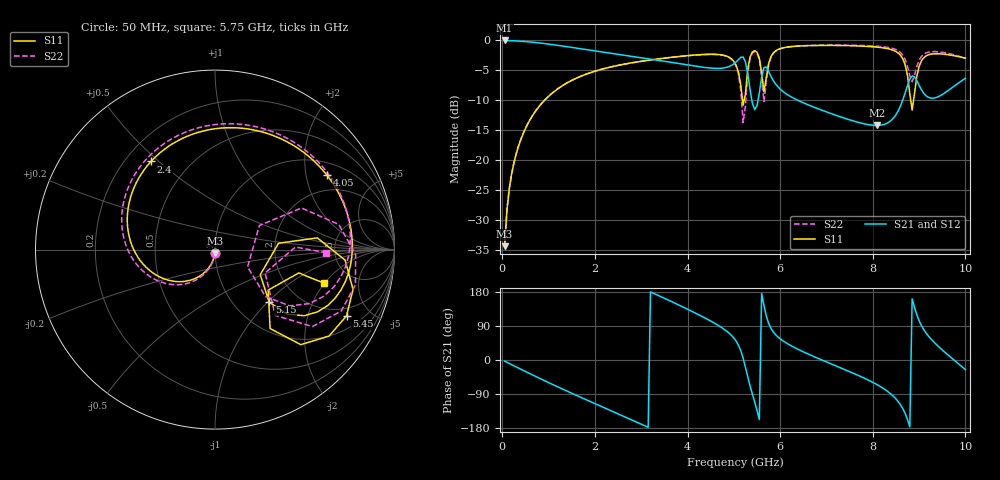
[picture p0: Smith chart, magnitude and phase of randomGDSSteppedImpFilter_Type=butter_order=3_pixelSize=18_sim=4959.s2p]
! freq	dB(S11)	phase(S11)	dB(S12)	phase(S12)
!  dB(S21)	phase(S21)	dB(S22)	phase(S22)
!S-par simulation data
#  GHz  S  DB  R 50
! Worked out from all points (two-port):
!   200 points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, 50 MHz to 10 GHz, reference 50 ohm
!   highest |S21| = -0.01 dB at 50 MHz (marker M1); lowest = -14.2 dB at 8.1 GHz (marker M2)
!   |S21| within 3 dB of the highest: start of sweep to 3.091 GHz; 5.125 GHz to 5.215 GHz (89.43 MHz wide, 1.73 % of centre)
!   lowest |S11| = -34.4 dB at 50 MHz (marker M3), VSWR 1.04, Z = 49.9 - j1.9 ohm
!   |S11| at or under -10 dB: start of sweep to 913.1 MHz; 5.188 GHz to 5.222 GHz (34.15 MHz wide, 0.656 % of centre); 8.82 GHz to 8.881 GHz (61.11 MHz wide, 0.69 % of centre)
!   |S22| runs from -34.4 to -0.8 dB; largest |S21 - S12| = 0
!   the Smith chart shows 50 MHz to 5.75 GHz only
!   S11 on the Smith chart (normalised r, x): 50 MHz: 1.00, -0.04; 2.4 GHz: 0.30, +0.47; 4.05 GHz: 1.41, +2.65; 5.15 GHz: 1.44, -1.02; 5.45 GHz: 1.57, -3.55; 5.75 GHz: 3.15, -1.99
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0.05  -34.39 -93.1  -0.01 -3.1  -0.01 -3.1  -34.37 -93.0
0.2  -22.40 -103.4  -0.05 -12.2  -0.05 -12.2  -22.36 -102.1
0.5  -14.72 -122.4  -0.19 -30.3  -0.19 -30.3  -14.72 -119.4
1.75  -5.82 162.7  -1.47 -101.5  -1.47 -101.5  -5.81 172.8
2.4  -4.34 126.0  -2.22 -136.7  -2.22 -136.7  -4.34 139.1
3.4  -3.06 70.3  -3.37 168.6  -3.37 168.6  -3.06 85.7
4.05  -2.51 33.5  -4.16 131.1  -4.16 131.1  -2.52 48.1
5.05  -4.17 -36.5  -3.59 49.7  -3.59 49.7  -4.35 -29.8
5.15  -7.52 -44.1  -2.82 24.6  -2.82 24.6  -8.33 -42.8
5.2  -10.80 -29.0  -2.77 5.0  -2.77 5.0  -13.75 -28.0
5.3  -4.82 6.5  -5.58 -45.5  -5.58 -45.5  -5.43 25.7
5.45  -1.72 -26.7  -11.57 -110.7  -11.57 -110.7  -1.87 -14.1
5.6  -5.41 -55.1  -6.17 175.6  -6.17 175.6  -6.07 -47.5
5.75  -3.92 -17.1  -5.17 97.1  -5.17 97.1  -4.18 -1.5
6.7  -0.86 -85.2  -11.07 10.6  -11.07 10.6  -0.83 -74.4
8.1  -1.13 -165.3  -14.21 -65.5  -14.21 -65.5  -0.97 -144.0
8.35  -1.43 174.9  -13.64 -85.6  -13.64 -85.6  -1.20 -158.6
8.7  -4.09 132.9  -8.75 -141.3  -8.75 -141.3  -3.21 173.8
8.85  -11.64 149.8  -5.93 161.3  -5.93 161.3  -6.88 -175.6
9.15  -2.59 141.6  -9.24 71.4  -9.24 71.4  -2.09 178.7
9.55  -2.31 89.8  -8.80 21.2  -8.80 21.2  -2.05 144.4
10  -2.95 35.9  -6.33 -25.4  -6.33 -25.4  -2.98 104.0
